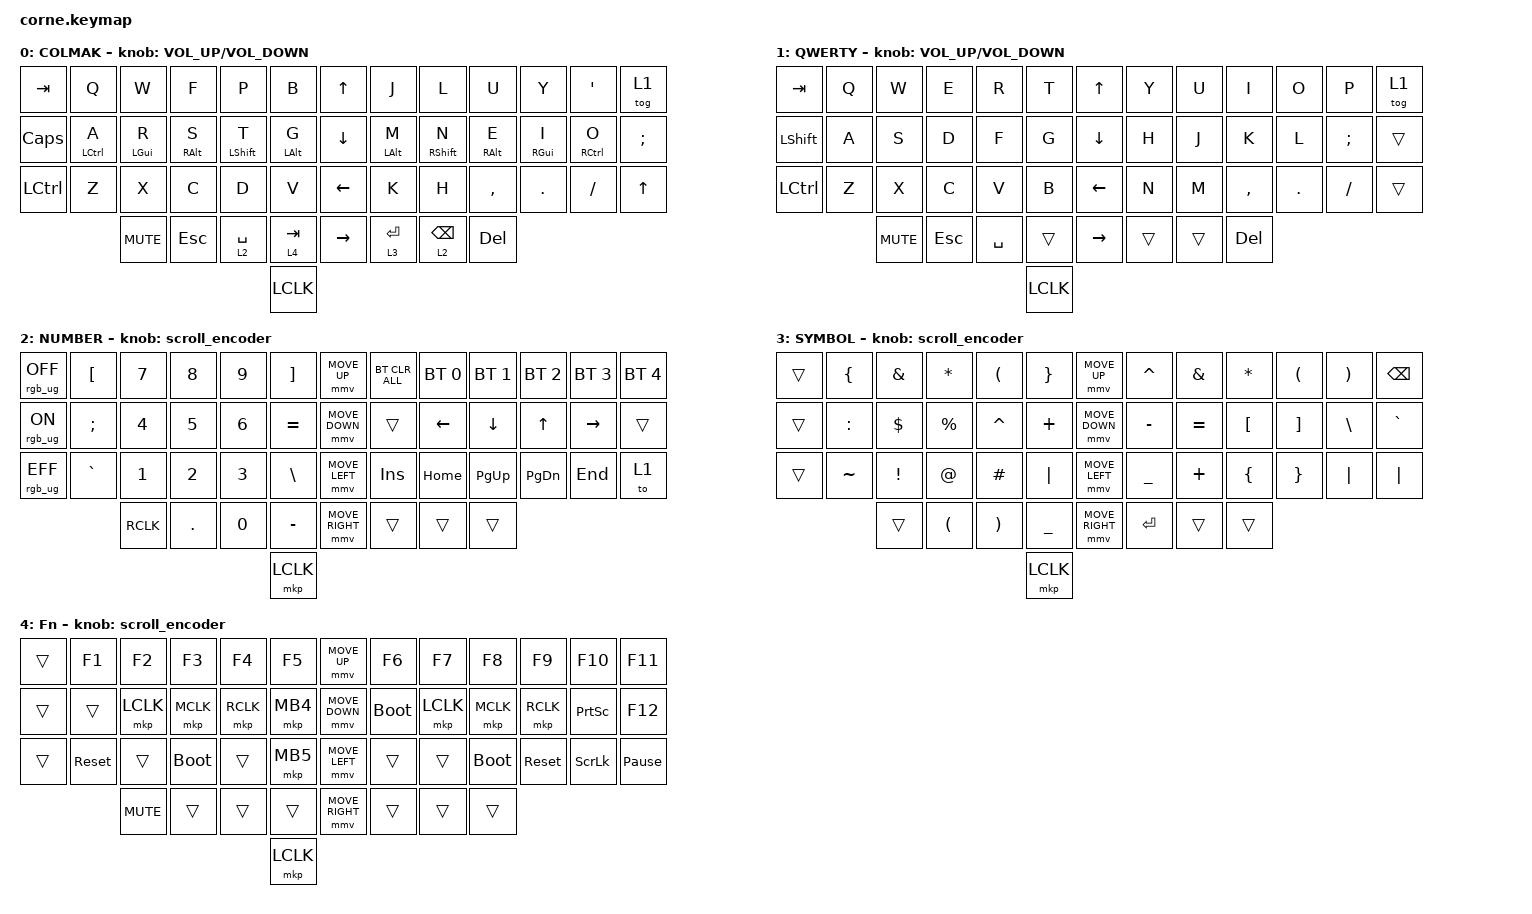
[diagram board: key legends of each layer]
#include <behaviors/mouse_keys.dtsi>
#include <behaviors.dtsi>
#include <dt-bindings/zmk/bt.h>
#include <dt-bindings/zmk/keys.h>
#include <dt-bindings/zmk/mouse.h>
#include <dt-bindings/zmk/outputs.h>
#include <dt-bindings/zmk/rgb.h>

#define ZMK_MOUSE_DEFAULT_MOVE_VAL 1200  // 600
#define ZMK_MOUSE_DEFAULT_SCRL_VAL 20    // 10
#define U_MS_U &mmv MOVE_UP
#define U_MS_D &mmv MOVE_DOWN
#define U_MS_L &mmv MOVE_LEFT
#define U_MS_R &mmv MOVE_RIGHT

/ {
    behaviors {
        td0: td0 {
            compatible = "zmk,behavior-tap-dance";
            label = "TD0";
            #binding-cells = <0>;
            bindings = <&kp LEFT_SHIFT>, <&kp CAPS>;
        };

        mmv {
            acceleration-exponent = <1>;      // 1
            time-to-max-speed-ms = <900>;    // 40
            delay-ms = <0>;                   // 0
        };

        msc {
            acceleration-exponent = <1>;      // 0
            time-to-max-speed-ms = <400>;      // 500
            delay-ms = <0>;                   // 10
        };

        hm: homerow_mods {
            compatible = "zmk,behavior-hold-tap";
            #binding-cells = <2>;
            tapping-term-ms = <150>;
            quick-tap-ms = <0>;
            flavor = "tap-preferred";
            bindings = <&kp>, <&kp>;
        };
    };

    rgb_encoder: rgb_encoder {
        compatible = "zmk,behavior-sensor-rotate";
        label = "RGB_ENCODER";
        #sensor-binding-cells = <0>;
        bindings = <&rgb_ug RGB_BRI>, <&rgb_ug RGB_BRD>;
    };

    scroll_encoder: scroll_encoder {
        compatible = "zmk,behavior-sensor-rotate";
        #sensor-binding-cells = <0>;
        bindings = <&msc SCRL_DOWN>, <&msc SCRL_UP>;

        tap-ms = <30>;
    };

    keymap {
        compatible = "zmk,keymap";

        default_layer {
            display-name = "COLMAK";

            // --------------------------------------------------------------------------------
            // |  TAB |  Q  |  W  |  F  |  P  |  B  |                ↑    |  J  |  L   |  U  |  Y  |  '  | ENTR |      &kp UP_ARROW 
            // | SHIFT|  A  |  R  |  S  |  T  |  G  |                ↓    |  M  |  N   |  E  |  I  |  O  |  ;   | 
            // | CTRL |  Z  |  X  |  C  |  D  |  V  |                ←    |  K  |  H   |  ,  |  .  |  /  |  ↑   |
            //                    | ESC | SPC | TAB |                →    | ENT | BCK  | DEL |
            //                                                      click

            bindings = <
&kp TAB    &kp Q        &kp W      &kp F      &kp P        &kp B         &kp UP_ARROW         &kp J       &kp L        &kp U      &kp Y      &kp SQT     &tog 1
&kp CAPS   &hm LCTRL A  &hm LGUI R &hm RALT S &hm LSHIFT T &hm LALT G    &kp DOWN_ARROW       &hm LALT M  &hm RSHIFT N &hm RALT E &hm RGUI I &hm RCTRL O &kp SEMI
&kp LCTRL  &kp Z        &kp X      &kp C      &kp D        &kp V         &kp LEFT_ARROW       &kp K       &kp H        &kp COMMA  &kp DOT    &kp FSLH    &kp UP_ARROW
                        &kp C_MUTE &kp ESC    &lt 2 SPACE  &lt 4 TAB     &kp RIGHT_ARROW      &lt 3 ENTER &lt 2 BSPC   &kp DEL
                                                            &kp LCLK
            >;

            label = "ALPHAS";
            sensor-bindings = <&inc_dec_kp C_VOLUME_UP C_VOLUME_DOWN>;
        };

        gaming_layer {
            display-name = "QWERTY";

            // --------------------------------------------------------------------------------
            // |  TAB |  Q  |  W  |  F  |  P  |  B  |                ↑    |  J  |  L   |  U  |  Y  |  '  | ENTR |      &kp UP_ARROW 
            // | SHIFT|  A  |  R  |  S  |  T  |  G  |                ↓    |  M  |  N   |  E  |  I  |  O  |  ;   | 
            // | CTRL |  Z  |  X  |  C  |  D  |  V  |                ←    |  K  |  H   |  ,  |  .  |  /  |  ↑   |
            //                    | ESC | SPC | TAB |                →    | ENT | BCK  | DEL |
            //                                                      click

            bindings = <
&kp TAB    &kp Q        &kp W      &kp E      &kp R        &kp T         &kp UP_ARROW         &kp Y       &kp U        &kp I      &kp O      &kp P       &tog 1
&kp LSHIFT &kp A        &kp S      &kp D      &kp F        &kp G         &kp DOWN_ARROW       &kp H       &kp J        &kp K      &kp L      &kp SEMI    &trans
&kp LCTRL  &kp Z        &kp X      &kp C      &kp V        &kp B         &kp LEFT_ARROW       &kp N       &kp M        &kp COMMA  &kp DOT    &kp FSLH    &trans
                        &kp C_MUTE &kp ESC    &kp SPACE  &trans     &kp RIGHT_ARROW      &trans &trans   &kp DEL
                                                            &kp LCLK
            >;

            label = "QWERTY";
            sensor-bindings = <&inc_dec_kp C_VOLUME_UP C_VOLUME_DOWN>;
        };

        number_layer {
            display-name = "NUMBER";

            // -----------------------------------------------------------------------------------------
            // | RGBOF |  [  |  7  |  8  |  9  |  ]  |   | BTCLR| BT1 | BT2 | BT3 | BT4 | BT5 |
            // | RGBON |  ;  |  4  |  5  |  6  |  =  |   |      | LFT | DWN |  UP | RGT |     |
            // | RGBEF |  `  |  1  |  2  |  3  |  \  |   | INS  | HOM | Pup | Pdn | END |     |
            //                     |  .  |  0  |  -  |   | ENT  |     | DEL |

            bindings = <
&rgb_ug RGB_OFF  &kp LBKT     &kp N7  &kp N8   &kp N9  &kp RBKT   &mmv MOVE_UP     &bt BT_CLR_ALL   &bt BT_SEL 0  &bt BT_SEL 1  &bt BT_SEL 2  &bt BT_SEL 3  &bt BT_SEL 4
&rgb_ug RGB_ON   &kp SEMI     &kp N4  &kp N5   &kp N6  &kp EQUAL  &mmv MOVE_DOWN   &trans           &kp LEFT      &kp DOWN      &kp UP        &kp RIGHT     &trans 
&rgb_ug RGB_EFF  &kp GRAVE    &kp N1  &kp N2   &kp N3  &kp BSLH   &mmv MOVE_LEFT   &kp INS          &kp HOME      &kp PG_UP     &kp PG_DN     &kp END       &to 1       
                            &kp RCLK  &kp DOT  &kp N0  &kp MINUS  &mmv MOVE_RIGHT  &trans          &trans          &trans
                                                                                        &mkp LCLK
            >;

            label = "NUMBER";
            sensor-bindings = <&scroll_encoder>;
        };

        nav_layer {
            display-name = "SYMBOL";

            // -----------------------------------------------------------------------------------------
            // |  TAB |  {  |  &  |  *  |  () |  }  |   |  ^  |  &  |  *  |  (  |  )  | BKSP |
            // | CTRL |  :  |  $  |  %  |  ^  |  +  |   |  -  |  =  |  [  |  ]  |  \  |  `   |
            // | SHFT |  ~  |  !  |  @  |  #  | "|" |   |  _  |  +  |  {  |  }  | "|" |  ~   |
            //                    |  (  |  )  |  _  |   |     |     |     |

            bindings = <
&trans  &kp LBRC      &kp AMPS      &kp ASTRK  &kp LPAR   &kp RBRC     &mmv MOVE_UP     &kp CARET  &kp AMPS   &kp ASTRK  &kp LPAR  &kp RPAR  &kp BSPC
&trans  &kp COLON     &kp DLLR      &kp PRCNT  &kp CARET  &kp PLUS     &mmv MOVE_DOWN   &kp MINUS  &kp EQUAL  &kp LBKT   &kp RBKT  &kp BSLH  &kp GRAVE
&trans  &kp TILDE     &kp EXCL      &kp AT     &kp HASH   &kp PIPE     &mmv MOVE_LEFT   &kp UNDER  &kp PLUS   &kp LBRC   &kp RBRC  &kp PIPE  &kp PIPE
                      &trans        &kp LPAR   &kp RPAR   &kp UNDER    &mmv MOVE_RIGHT  &kp RET    &trans     &trans
                                                                       &mkp LCLK
            >;

            label = "SYMBOL";
            sensor-bindings = <&scroll_encoder>;
        };

        layer_3 {
            display-name = "Fn";
            bindings = <
&trans  &kp F1      &kp F2      &kp F3       &kp F4     &kp F5      &mmv MOVE_UP     &kp F6       &kp F7     &kp F8       &kp F9      &kp F10          &kp F11
&trans  &trans      &mkp LCLK   &mkp MCLK    &mkp RCLK  &mkp MB4    &mmv MOVE_DOWN   &bootloader  &mkp LCLK  &mkp MCLK    &mkp RCLK   &kp PRINTSCREEN  &kp F12
&trans  &sys_reset  &trans      &bootloader  &trans     &mkp MB5    &mmv MOVE_LEFT   &trans       &trans     &bootloader  &sys_reset  &kp SCROLLLOCK   &kp PAUSE_BREAK
                    &kp C_MUTE  &trans       &trans     &trans      &mmv MOVE_RIGHT  &trans       &trans     &trans
                                                                    &mkp LCLK
            >;

            label = "FN";
            sensor-bindings = <&scroll_encoder>;
        };
    };
};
